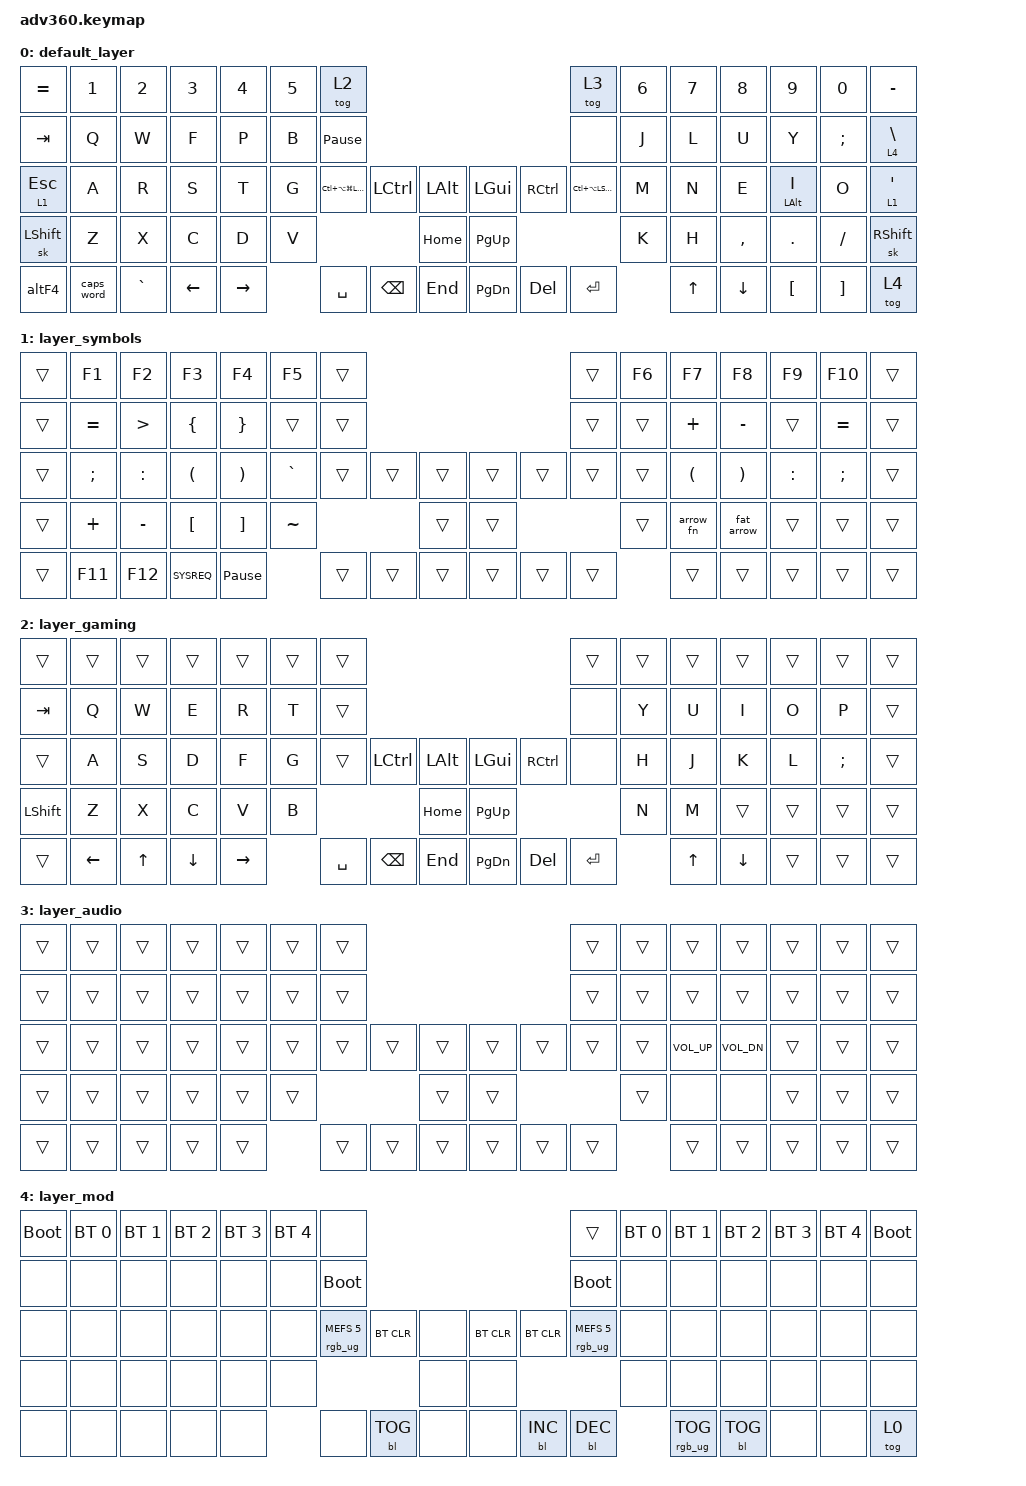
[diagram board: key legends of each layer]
#include <behaviors.dtsi>
#include <dt-bindings/zmk/backlight.h>
#include <dt-bindings/zmk/bt.h>
#include <dt-bindings/zmk/keys.h>
#include <dt-bindings/zmk/rgb.h>

&caps_word { continue-list = <UNDERSCORE MINUS BACKSPACE DELETE>; };

&sk {
    release-after-ms = <500>;
    quick-release;

    /delete-property/ ignore-modifiers;
};

/ {
    behaviors {
        #include "macros.dtsi"
      #include "version.dtsi"
      #ifndef VERSION_MACRO

        macro_ver: macro_ver {
            compatible = "zmk,behavior-macro";
            label = "macro_version";
            #binding-cells = <0>;
            bindings = <&kp RET>;
        };

        #endif

        hm: homerow_mods {
            compatible = "zmk,behavior-hold-tap";
            label = "HOMEROW_MODS";
            #binding-cells = <2>;
            tapping-term-ms = <200>;
            quick_tap_ms = <175>;
            flavor = "tap-preferred";
            bindings = <&kp>, <&kp>;
        };

        altF4: alt_f4 {
            compatible = "zmk,behavior-tap-dance";
            label = "ALT_F4";
            #binding-cells = <0>;
            tapping-term-ms = <200>;
            bindings = <&kp LS(LA(F3))>, <&kp LA(F4)>;
        };

        homerow_mod_layer_hold: homerow_mod_layer_hold {
            compatible = "zmk,behavior-hold-tap";
            label = "HOMEROW_MOD_LAYER_HOLD";
            #binding-cells = <2>;
            tapping-term-ms = <200>;
            quick_tap_ms = <175>;
            flavor = "tap-preferred";
            bindings = <&mo>, <&kp>;
        };
    };

    macros {
        arrow_fn: arrow_fn {
            compatible = "zmk,behavior-macro";
            #binding-cells = <0>;
            bindings = <&kp LPAR &kp RPAR &kp SPACE &kp EQUAL &kp GT &kp SPACE &kp LEFT_BRACE &kp RIGHT_BRACE>;
            label = "ARROW_FN";
            wait-ms = <5>;
            tap-ms = <5>;
        };

        fat_arrow: fat_arrow {
            compatible = "zmk,behavior-macro";
            #binding-cells = <0>;
            bindings = <&kp EQUAL &kp GREATER_THAN &kp SPACE &kp LEFT_BRACE &kp RIGHT_BRACE>;
            label = "FAT_ARROW";
            wait-ms = <5>;
            tap-ms = <5>;
        };
    };

    combos {
        compatible = "zmk,combos";

        command {
            bindings = <&kp LEFT_COMMAND>;
            key-positions = <66 65>;
            layers = <0 2>;
        };
    };

    keymap {
        compatible = "zmk,keymap";

        default_layer {
            bindings = <
&kp EQUAL                      &kp N1      &kp N2     &kp N3    &kp N4     &kp N5  &tog 2                                                                          &tog 3              &kp N6  &kp N7  &kp N8     &kp N9          &kp N0         &kp MINUS
&kp TAB                        &kp Q       &kp W      &kp F     &kp P      &kp B   &kp PAUSE_BREAK                                                                 &none               &kp J   &kp L   &kp U      &kp Y           &kp SEMICOLON  &lt 4 BACKSLASH
&homerow_mod_layer_hold 1 ESC  &kp A       &kp R      &kp S     &kp T      &kp G   &kp LC(LA(LG(LEFT_SHIFT)))  &kp LCTRL      &kp LALT      &kp LGUI   &kp RCTRL   &kp LC(LA(LSHIFT))  &kp M   &kp N   &kp E      &hm LEFT_ALT I  &kp O          &homerow_mod_layer_hold 1 SQT
&sk LEFT_SHIFT                 &kp Z       &kp X      &kp C     &kp D      &kp V                                              &kp HOME      &kp PG_UP                                  &kp K   &kp H   &kp COMMA  &kp DOT         &kp FSLH       &sk RIGHT_SHIFT
&altF4                         &caps_word  &kp GRAVE  &kp LEFT  &kp RIGHT          &kp SPACE                   &kp BACKSPACE  &kp END       &kp PG_DN  &kp DELETE  &kp ENTER                   &kp UP  &kp DOWN   &kp LBKT        &kp RBKT       &tog 4
            >;
        };

        layer_symbols {
            bindings = <
&trans  &kp F1         &kp F2            &kp F3                &kp F4                 &kp F5     &trans                                      &trans  &kp F6  &kp F7                &kp F8                 &kp F9     &kp F10        &trans
&trans  &kp EQUAL      &kp GREATER_THAN  &kp LEFT_BRACE        &kp RIGHT_BRACE        &trans     &trans                                      &trans  &trans  &kp PLUS              &kp MINUS              &trans     &kp EQUAL      &trans
&trans  &kp SEMICOLON  &kp COLON         &kp LEFT_PARENTHESIS  &kp RIGHT_PARENTHESIS  &kp GRAVE  &trans  &trans  &trans      &trans  &trans  &trans  &trans  &kp LEFT_PARENTHESIS  &kp RIGHT_PARENTHESIS  &kp COLON  &kp SEMICOLON  &trans
&trans  &kp PLUS       &kp MINUS         &kp LEFT_BRACKET      &kp RIGHT_BRACKET      &kp TILDE                  &trans      &trans                  &trans  &arrow_fn             &fat_arrow             &trans     &trans         &trans
&trans  &kp F11        &kp F12           &kp SYSREQ            &kp PAUSE_BREAK                   &trans  &trans  &trans      &trans  &trans  &trans          &trans                &trans                 &trans     &trans         &trans
            >;
        };

        layer_gaming {
            bindings = <
&trans     &trans    &trans        &trans    &trans     &trans  &trans                                                    &trans     &trans  &trans  &trans    &trans  &trans         &trans
&kp TAB    &kp Q     &kp W         &kp E     &kp R      &kp T   &trans                                                    &none      &kp Y   &kp U   &kp I     &kp O   &kp P          &trans
&trans     &kp A     &kp S         &kp D     &kp F      &kp G   &trans     &kp LCTRL  &kp LALT      &kp LGUI   &kp RCTRL  &none      &kp H   &kp J   &kp K     &kp L   &kp SEMICOLON  &trans
&kp LSHFT  &kp Z     &kp X         &kp C     &kp V      &kp B                         &kp HOME      &kp PG_UP                        &kp N   &kp M   &trans    &trans  &trans         &trans
&trans     &kp LEFT  &kp UP_ARROW  &kp DOWN  &kp RIGHT          &kp SPACE  &kp BSPC   &kp END       &kp PG_DN  &kp DEL    &kp ENTER          &kp UP  &kp DOWN  &trans  &trans         &trans
            >;
        };

        layer_audio {
            bindings = <
&trans  &trans  &trans  &trans  &trans  &trans  &trans                                      &trans  &trans  &trans        &trans        &trans  &trans  &trans
&trans  &trans  &trans  &trans  &trans  &trans  &trans                                      &trans  &trans  &trans        &trans        &trans  &trans  &trans
&trans  &trans  &trans  &trans  &trans  &trans  &trans  &trans  &trans      &trans  &trans  &trans  &trans  &kp C_VOL_UP  &kp C_VOL_DN  &trans  &trans  &trans
&trans  &trans  &trans  &trans  &trans  &trans                  &trans      &trans                  &trans  &none         &none         &trans  &trans  &trans
&trans  &trans  &trans  &trans  &trans          &trans  &trans  &trans      &trans  &trans  &trans          &trans        &trans        &trans  &trans  &trans
            >;
        };

        layer_mod {
            bindings = <
&bootloader  &bt BT_SEL 0  &bt BT_SEL 1  &bt BT_SEL 2  &bt BT_SEL 3  &bt BT_SEL 4  &none                                                                  &trans                  &bt BT_SEL 0  &bt BT_SEL 1     &bt BT_SEL 2  &bt BT_SEL 3  &bt BT_SEL 4  &bootloader
&none        &none         &none         &none         &none         &none         &bootloader                                                            &bootloader             &none         &none            &none         &none         &none         &none
&none        &none         &none         &none         &none         &none         &rgb_ug RGB_MEFS_CMD 5  &bt BT_CLR  &none      &bt BT_CLR  &bt BT_CLR  &rgb_ug RGB_MEFS_CMD 5  &none         &none            &none         &none         &none         &none
&none        &none         &none         &none         &none         &none                                             &none      &none                                           &none         &none            &none         &none         &none         &none
&none        &none         &none         &none         &none                       &none                   &bl BL_TOG  &none      &none       &bl BL_INC  &bl BL_DEC                            &rgb_ug RGB_TOG  &bl BL_TOG    &none         &none         &tog 0
            >;
        };
    };
};
